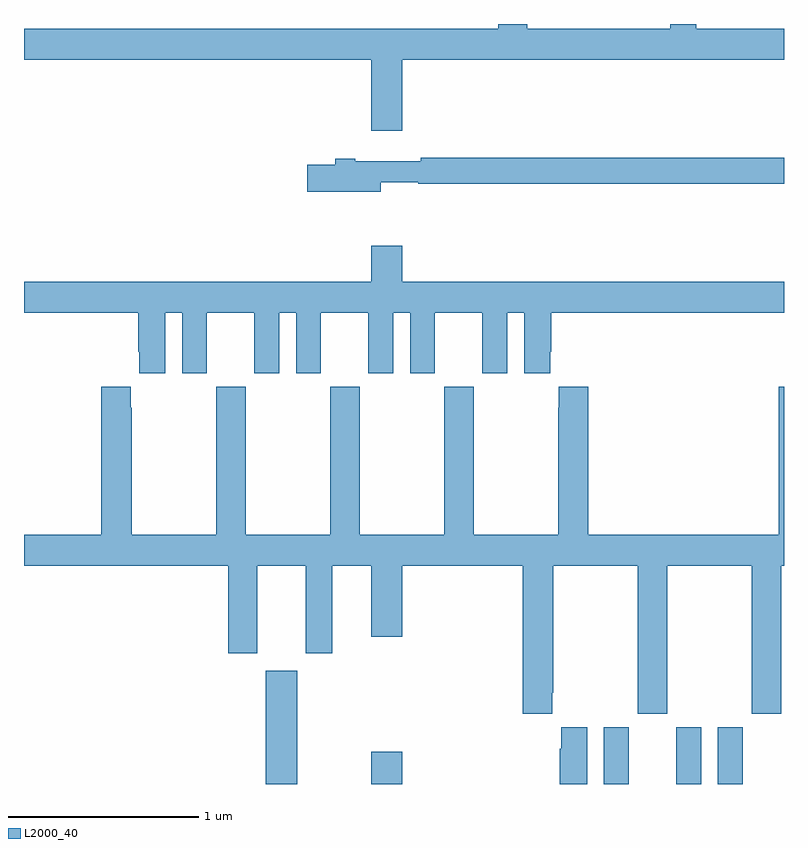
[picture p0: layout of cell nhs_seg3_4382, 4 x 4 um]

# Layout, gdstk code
import gdstk
lib = gdstk.Library(unit=1e-6, precision=1e-09)
def R(c, l, rs):  # rectangles x0, y0, x1, y1
    for r in rs: c.add(gdstk.rectangle(r[:2], r[2:], *l))
def P(c, l, *ps):  # polygons
    for p in ps: c.add(gdstk.Polygon(p, *l))
L2000_40 = (2000, 40)

nhs_seg3_4382 = lib.new_cell('nhs_seg3_4382')
R(nhs_seg3_4382, L2000_40, [(344.273,734.4,344.437,734.995), (344.828,734.4,344.992,734.569), (346.052,734.4,346.183,734.698), (346.433,734.4,346.564,734.698), (346.652,734.4,346.783,734.698)])
P(nhs_seg3_4382, L2000_40, [(347,738.376),(346.539,738.376),(346.539,738.4),(346.401,738.4),(346.401,738.376),(345.649,738.376),(345.649,738.4),(345.497,738.4),(345.497,738.376),(343,738.376),(343,738.212),(344.828,738.212),(344.828,737.838),(344.992,737.838),(344.992,738.212),(347,738.212)],
  [(344.878,737.568),(345.074,737.568),(345.074,737.56),(347,737.56),(347,737.696),(345.088,737.696),(345.088,737.677),(344.743,737.677),(344.743,737.69),(344.639,737.69),(344.639,737.66),(344.49,737.66),(344.49,737.518),(344.878,737.518)],
  [(343.744,736.88),(343.832,736.88),(343.832,736.563),(343.963,736.563),(343.963,736.88),(344.213,736.88),(344.213,736.563),(344.344,736.563),(344.344,736.88),(344.432,736.88),(344.432,736.563),(344.563,736.563),(344.563,736.88),(344.813,736.88),(344.813,736.563),(344.944,736.563),(344.944,736.88),(345.032,736.88),(345.032,736.563),(345.163,736.563),(345.163,736.88),(345.413,736.88),(345.413,736.563),(345.544,736.563),(345.544,736.88),(345.632,736.88),(345.632,736.563),(345.769,736.563),(345.769,736.675),(345.776,736.675),(345.776,736.88),(347,736.88),(347,737.044),(344.992,737.044),(344.992,737.233),(344.828,737.233),(344.828,737.044),(343,737.044),(343,736.88),(343.601,736.88),(343.601,736.675),(343.607,736.675),(343.607,736.563),(343.744,736.563)],
  [(345.781,734.881),(345.786,734.881),(345.786,735.548),(346.231,735.548),(346.231,734.769),(346.386,734.769),(346.386,735.548),(346.831,735.548),(346.831,734.769),(346.986,734.769),(346.986,735.548),(347,735.548),(347,736.492),(346.973,736.492),(346.973,735.712),(345.971,735.712),(345.971,736.492),(345.815,736.492),(345.815,736.379),(345.811,736.379),(345.811,735.712),(345.366,735.712),(345.366,736.492),(345.211,736.492),(345.211,735.712),(344.766,735.712),(344.766,736.492),(344.611,736.492),(344.611,735.712),(344.166,735.712),(344.166,736.492),(344.011,736.492),(344.011,735.712),(343.566,735.712),(343.566,736.379),(343.561,736.379),(343.561,736.492),(343.406,736.492),(343.406,735.712),(343,735.712),(343,735.548),(344.075,735.548),(344.075,735.087),(344.227,735.087),(344.227,735.548),(344.483,735.548),(344.483,735.087),(344.623,735.087),(344.623,735.548),(344.828,735.548),(344.828,735.174),(344.992,735.174),(344.992,735.548),(345.626,735.548),(345.626,734.769),(345.781,734.769)],
  [(345.964,734.698),(345.827,734.698),(345.827,734.585),(345.821,734.585),(345.821,734.4),(345.964,734.4)])

lib.write_gds('nhs_seg3_4382.gds')
